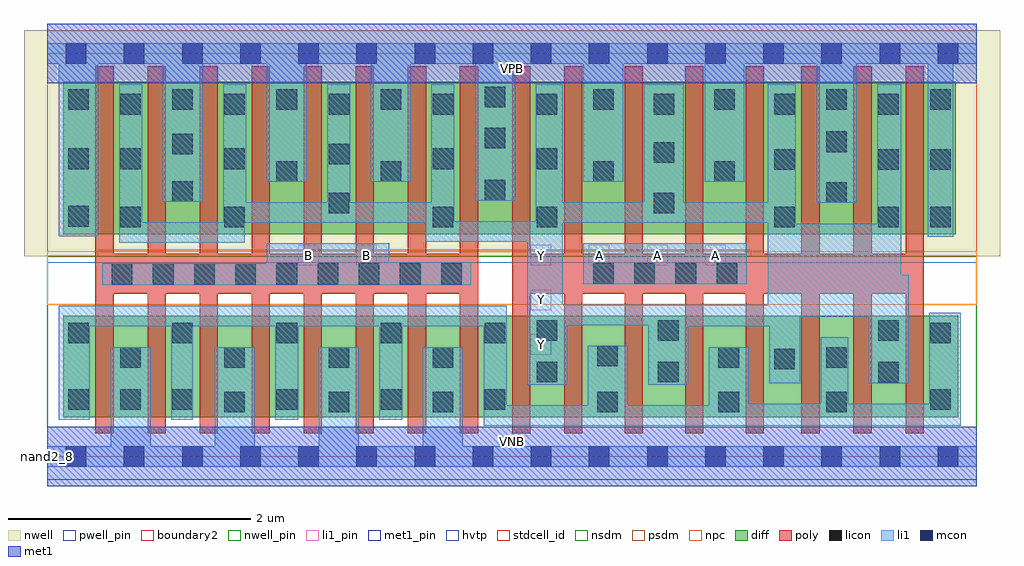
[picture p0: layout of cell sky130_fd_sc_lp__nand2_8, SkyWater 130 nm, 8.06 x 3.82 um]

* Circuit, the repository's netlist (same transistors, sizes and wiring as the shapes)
* Copyright 2020 The SkyWater PDK Authors
*
* Licensed under the Apache License, Version 2.0 (the "License");
* you may not use this file except in compliance with the License.
* You may obtain a copy of the License at
*
*     https://www.apache.org/licenses/LICENSE-2.0
*
* Unless required by applicable law or agreed to in writing, software
* distributed under the License is distributed on an "AS IS" BASIS,
* WITHOUT WARRANTIES OR CONDITIONS OF ANY KIND, either express or implied.
* See the License for the specific language governing permissions and
* limitations under the License.
*
* SPDX-License-Identifier: Apache-2.0

.SUBCKT sky130_fd_sc_lp__nand2_8 A B VGND VNB VPB VPWR Y
*.PININFO A:I B:I VGND:I VNB:I VPB:I VPWR:I Y:O
MMP0 Y A VPWR VPB sky130_fd_pr__pfet_01v8_hvt m=8 w=1.26U l=0.15U mult=1 sa=0.265
+ sb=0.265 sd=0.28 area=0.063 perim=1.14
MMP1 Y B VPWR VPB sky130_fd_pr__pfet_01v8_hvt m=8 w=1.26U l=0.15U mult=1 sa=0.265
+ sb=0.265 sd=0.28 area=0.063 perim=1.14
MMN0 Y A sndA VNB sky130_fd_pr__nfet_01v8 m=8 w=0.84U l=0.15U mult=1 sa=0.265 sb=0.265
+ sd=0.28 area=0.063 perim=1.14
MMN1 sndA B VGND VNB sky130_fd_pr__nfet_01v8 m=8 w=0.84U l=0.15U mult=1 sa=0.265
+ sb=0.265 sd=0.28 area=0.063 perim=1.14
.ENDS sky130_fd_sc_lp__nand2_8

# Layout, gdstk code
import gdstk
lib = gdstk.Library(unit=1e-6, precision=1e-09)
def R(c, l, rs):  # rectangles x0, y0, x1, y1
    for r in rs: c.add(gdstk.rectangle(r[:2], r[2:], *l))
def A(c, l, x, y, w, h, nx, ny, dx, dy):  # array of equal rectangles
    R(c, l, [(x+i*dx, y+j*dy, x+i*dx+w, y+j*dy+h) for i in range(nx) for j in range(ny)])
def P(c, l, *ps):  # polygons
    for p in ps: c.add(gdstk.Polygon(p, *l))
nwell_pin = (64, 16)
nwell = (64, 20)
diff = (65, 20)
poly = (66, 20)
licon = (66, 44)
li1_pin = (67, 16)
li1 = (67, 20)
mcon = (67, 44)
met1_pin = (68, 16)
met1 = (68, 20)
hvtp = (78, 44)
stdcell_id = (81, 4)
nsdm = (93, 44)
psdm = (94, 20)
npc = (95, 20)
pwell_pin = (122, 16)
boundary2 = (236, 0)

sky130_fd_sc_lp__nand2_8 = lib.new_cell('sky130_fd_sc_lp__nand2_8')
R(sky130_fd_sc_lp__nand2_8, nwell_pin, [(0,3.085,7.68,3.33)])
R(sky130_fd_sc_lp__nand2_8, nwell, [(-0.19,1.655,7.87,3.52)])
R(sky130_fd_sc_lp__nand2_8, diff, [(0.135,0.325,7.525,1.165), (0.135,1.835,7.505,3.095)])
P(sky130_fd_sc_lp__nand2_8, poly, [(3.56,3.225),(3.41,3.225),(3.41,1.675),(3.13,1.675),(3.13,3.225),(2.98,3.225),(2.98,1.675),(2.7,1.675),(2.7,3.225),(2.55,3.225),(2.55,1.675),(2.27,1.675),(2.27,3.225),(2.12,3.225),(2.12,1.675),(1.84,1.675),(1.84,3.225),(1.69,3.225),(1.69,1.675),(1.41,1.675),(1.41,3.225),(1.26,3.225),(1.26,1.675),(0.98,1.675),(0.98,3.225),(0.83,3.225),(0.83,1.675),(0.55,1.675),(0.55,3.225),(0.4,3.225),(0.4,0.195),(0.55,0.195),(0.55,1.345),(0.83,1.345),(0.83,0.195),(0.98,0.195),(0.98,1.345),(1.26,1.345),(1.26,0.195),(1.41,0.195),(1.41,1.345),(1.69,1.345),(1.69,0.195),(1.84,0.195),(1.84,1.345),(2.12,1.345),(2.12,0.195),(2.27,0.195),(2.27,1.345),(2.55,1.345),(2.55,0.195),(2.7,0.195),(2.7,1.345),(2.98,1.345),(2.98,0.195),(3.13,0.195),(3.13,1.345),(3.41,1.345),(3.41,0.195),(3.56,0.195)],
  [(7.24,3.225),(7.09,3.225),(7.09,1.675),(6.81,1.675),(6.81,3.225),(6.66,3.225),(6.66,1.675),(6.38,1.675),(6.38,3.225),(6.23,3.225),(6.23,1.675),(5.92,1.675),(5.92,3.225),(5.77,3.225),(5.77,1.675),(5.42,1.675),(5.42,3.225),(5.27,3.225),(5.27,1.675),(4.92,1.675),(4.92,3.225),(4.77,3.225),(4.77,1.675),(4.42,1.675),(4.42,3.225),(4.27,3.225),(4.27,1.675),(3.99,1.675),(3.99,3.225),(3.84,3.225),(3.84,0.195),(3.99,0.195),(3.99,1.345),(4.27,1.345),(4.27,0.195),(4.42,0.195),(4.42,1.345),(4.77,1.345),(4.77,0.195),(4.92,0.195),(4.92,1.345),(5.27,1.345),(5.27,0.195),(5.42,0.195),(5.42,1.345),(5.77,1.345),(5.77,0.195),(5.92,0.195),(5.92,1.345),(6.23,1.345),(6.23,0.195),(6.38,0.195),(6.38,1.345),(6.66,1.345),(6.66,0.195),(6.81,0.195),(6.81,1.345),(7.09,1.345),(7.09,0.195),(7.24,0.195)])
A(sky130_fd_sc_lp__nand2_8, licon, 1.465, 0.365, 0.17, 0.17, 3, 1, 0.86, 0)
A(sky130_fd_sc_lp__nand2_8, licon, 0.175, 0.385, 0.17, 0.17, 3, 1, 0.43, 0)
A(sky130_fd_sc_lp__nand2_8, licon, 1.895, 0.385, 0.17, 0.17, 3, 1, 0.86, 0)
A(sky130_fd_sc_lp__nand2_8, licon, 0.605, 0.735, 0.17, 0.17, 4, 1, 0.86, 0)
A(sky130_fd_sc_lp__nand2_8, licon, 0.175, 0.935, 0.17, 0.17, 5, 1, 0.86, 0)
A(sky130_fd_sc_lp__nand2_8, licon, 0.535, 1.425, 0.17, 0.17, 9, 1, 0.34, 0)
A(sky130_fd_sc_lp__nand2_8, licon, 4.51, 1.425, 0.17, 0.17, 4, 1, 0.34, 0)
A(sky130_fd_sc_lp__nand2_8, licon, 0.605, 2.825, 0.17, 0.17, 5, 1, 0.86, 0)
A(sky130_fd_sc_lp__nand2_8, licon, 0.175, 2.865, 0.17, 0.17, 4, 1, 0.86, 0)
R(sky130_fd_sc_lp__nand2_8, licon, [(4.545,0.365,4.715,0.535), (5.545,0.365,5.715,0.535), (6.435,0.365,6.605,0.535), (7.295,0.385,7.465,0.555), (4.045,0.615,4.215,0.785), (5.045,0.615,5.215,0.785), (6.865,0.615,7.035,0.785), (6.005,0.72,6.175,0.89), (5.545,0.735,5.715,0.905), (6.435,0.735,6.605,0.905), (4.545,0.745,4.715,0.915), (7.295,0.935,7.465,1.105), (4.045,0.955,4.215,1.125), (5.045,0.955,5.215,1.125), (6.865,0.955,7.035,1.125), (0.605,1.895,0.775,2.065), (1.465,1.895,1.635,2.065), (3.185,1.895,3.355,2.065), (4.045,1.895,4.215,2.065), (6.005,1.895,6.175,2.065), (6.865,1.895,7.035,2.065), (7.295,1.895,7.465,2.065), (0.175,1.9,0.345,2.07), (2.325,2.01,2.495,2.18), (5.01,2.01,5.18,2.18), (6.435,2.095,6.605,2.265), (1.035,2.105,1.205,2.275), (3.615,2.115,3.785,2.285), (1.895,2.27,2.065,2.44), (2.755,2.27,2.925,2.44), (4.51,2.27,4.68,2.44), (5.51,2.27,5.68,2.44), (6.005,2.37,6.175,2.54), (6.865,2.37,7.035,2.54), (7.295,2.37,7.465,2.54), (0.175,2.375,0.345,2.545), (0.605,2.375,0.775,2.545), (1.465,2.375,1.635,2.545), (3.185,2.375,3.355,2.545), (4.045,2.375,4.215,2.545), (2.325,2.415,2.495,2.585), (5.01,2.425,5.18,2.595), (1.035,2.495,1.205,2.665), (6.435,2.515,6.605,2.685), (3.615,2.545,3.785,2.715), (5.01,2.825,5.18,2.995), (6.005,2.825,6.175,2.995), (6.865,2.825,7.035,2.995), (4.51,2.865,4.68,3.035), (5.51,2.865,5.68,3.035), (6.435,2.865,6.605,3.035), (7.295,2.865,7.465,3.035), (3.615,2.885,3.785,3.055)])
A(sky130_fd_sc_lp__nand2_8, li1_pin, 3.995, 1.58, 0.17, 0.17, 4, 1, 0.48, 0)
R(sky130_fd_sc_lp__nand2_8, li1_pin, [(3.995,0.84,4.165,1.01), (3.995,1.21,4.165,1.38), (2.075,1.58,2.245,1.75), (2.555,1.58,2.725,1.75)])
R(sky130_fd_sc_lp__nand2_8, li1, [(4.43,1.425,5.78,1.76)])
P(sky130_fd_sc_lp__nand2_8, li1, [(3.505,1.605),(2.825,1.605),(2.825,1.76),(1.815,1.76),(1.815,1.595),(0.455,1.595),(0.455,1.415),(3.505,1.415)],
  [(7.115,1.5),(7.055,1.5),(7.055,3.075),(6.855,3.075),(6.855,1.925),(6.185,1.925),(6.185,3.075),(5.95,3.075),(5.95,1.255),(4.26,1.255),(4.26,1.93),(5.95,1.93),(5.95,2.1),(5.26,2.1),(5.26,3.075),(4.93,3.075),(4.93,2.1),(4.26,2.1),(4.26,3.075),(4.035,3.075),(4.035,1.945),(3.365,1.945),(3.365,3.075),(3.175,3.075),(3.175,2.1),(2.505,2.1),(2.505,3.075),(2.315,3.075),(2.315,2.1),(1.645,2.1),(1.645,3.075),(1.455,3.075),(1.455,1.935),(0.785,1.935),(0.785,3.075),(0.595,3.075),(0.595,1.765),(1.635,1.765),(1.635,1.93),(3.125,1.93),(3.125,1.775),(3.965,1.775),(3.965,0.595),(4.295,0.595),(4.295,1.085),(4.965,1.085),(4.965,0.595),(5.295,0.595),(5.295,1.075),(5.965,1.075),(5.965,0.605),(6.22,0.605),(6.22,1.155),(6.785,1.155),(6.785,0.605),(7.115,0.605)],
  [(7.545,1.19),(7.285,1.19),(7.285,0.435),(6.615,0.435),(6.615,0.985),(6.39,0.985),(6.39,0.435),(5.795,0.435),(5.795,0.905),(5.465,0.905),(5.465,0.425),(4.795,0.425),(4.795,0.915),(4.465,0.915),(4.465,0.425),(3.795,0.425),(3.795,1.245),(0.095,1.245),(0.095,0.305),(0.355,0.305),(0.355,1.075),(1.025,1.075),(1.025,0.305),(1.205,0.305),(1.205,1.075),(1.885,1.075),(1.885,0.305),(2.075,0.305),(2.075,1.075),(2.745,1.075),(2.745,0.305),(2.935,0.305),(2.935,1.075),(3.605,1.075),(3.605,0.255),(7.545,0.255)],
  [(7.68,3.415),(0,3.415),(0,3.245),(0.095,3.245),(0.095,1.82),(0.425,1.82),(0.425,3.245),(0.955,3.245),(0.955,2.105),(1.285,2.105),(1.285,3.245),(1.815,3.245),(1.815,2.27),(2.145,2.27),(2.145,3.245),(2.675,3.245),(2.675,2.27),(3.005,2.27),(3.005,3.245),(3.535,3.245),(3.535,2.115),(3.865,2.115),(3.865,3.245),(4.43,3.245),(4.43,2.27),(4.76,2.27),(4.76,3.245),(5.43,3.245),(5.43,2.27),(5.76,2.27),(5.76,3.245),(6.355,3.245),(6.355,2.095),(6.685,2.095),(6.685,3.245),(7.275,3.245),(7.275,1.815),(7.485,1.815),(7.485,3.245),(7.68,3.245)],
  [(7.68,0.085),(3.435,0.085),(3.435,0.905),(3.105,0.905),(3.105,0.085),(2.575,0.085),(2.575,0.905),(2.245,0.905),(2.245,0.085),(1.715,0.085),(1.715,0.905),(1.385,0.905),(1.385,0.085),(0.855,0.085),(0.855,0.905),(0.525,0.905),(0.525,0.085),(0,0.085),(0,-0.085),(7.68,-0.085)])
A(sky130_fd_sc_lp__nand2_8, mcon, 0.155, -0.085, 0.17, 0.17, 16, 2, 0.48, 3.33)
R(sky130_fd_sc_lp__nand2_8, met1_pin, [(0,0,7.68,0.245), (0,3.085,7.68,3.33)])
R(sky130_fd_sc_lp__nand2_8, met1, [(0,-0.245,7.68,0.245), (0,3.085,7.68,3.575)])
R(sky130_fd_sc_lp__nand2_8, hvtp, [(0,1.6,7.68,3.33)])
R(sky130_fd_sc_lp__nand2_8, stdcell_id, [(0,0,7.68,3.33)])
R(sky130_fd_sc_lp__nand2_8, nsdm, [(0,-0.19,7.68,1.655)])
P(sky130_fd_sc_lp__nand2_8, psdm, [(7.68,3.52),(0,3.52),(0,1.655),(0.425,1.655),(0.425,1.705),(5.81,1.705),(5.81,1.655),(7.68,1.655)])
R(sky130_fd_sc_lp__nand2_8, npc, [(0,1.255,7.68,1.695)])
R(sky130_fd_sc_lp__nand2_8, pwell_pin, [(0,0,7.68,0.245)])
R(sky130_fd_sc_lp__nand2_8, boundary2, [(0,0,7.68,3.33)])
sky130_fd_sc_lp__nand2_8.add(gdstk.Label('VNB', (3.84,0.123), layer=64, texttype=59))
sky130_fd_sc_lp__nand2_8.add(gdstk.Label('VPB', (3.84,3.208), layer=64, texttype=5))
sky130_fd_sc_lp__nand2_8.add(gdstk.Label('nand2_8', (0,0), layer=83, texttype=44))
sky130_fd_sc_lp__nand2_8.add(gdstk.Label('VPWR', (3.84,3.208), layer=68, texttype=5))
sky130_fd_sc_lp__nand2_8.add(gdstk.Label('VGND', (3.84,0.123), layer=68, texttype=5))
sky130_fd_sc_lp__nand2_8.add(gdstk.Label('A', (4.56,1.665), layer=67, texttype=5))
sky130_fd_sc_lp__nand2_8.add(gdstk.Label('A', (5.04,1.665), layer=67, texttype=5))
sky130_fd_sc_lp__nand2_8.add(gdstk.Label('A', (5.52,1.665), layer=67, texttype=5))
sky130_fd_sc_lp__nand2_8.add(gdstk.Label('B', (2.16,1.665), layer=67, texttype=5))
sky130_fd_sc_lp__nand2_8.add(gdstk.Label('B', (2.64,1.665), layer=67, texttype=5))
sky130_fd_sc_lp__nand2_8.add(gdstk.Label('Y', (4.08,0.925), layer=67, texttype=5))
sky130_fd_sc_lp__nand2_8.add(gdstk.Label('Y', (4.08,1.295), layer=67, texttype=5))
sky130_fd_sc_lp__nand2_8.add(gdstk.Label('Y', (4.08,1.665), layer=67, texttype=5))

lib.write_gds('sky130_fd_sc_lp__nand2_8.gds')
